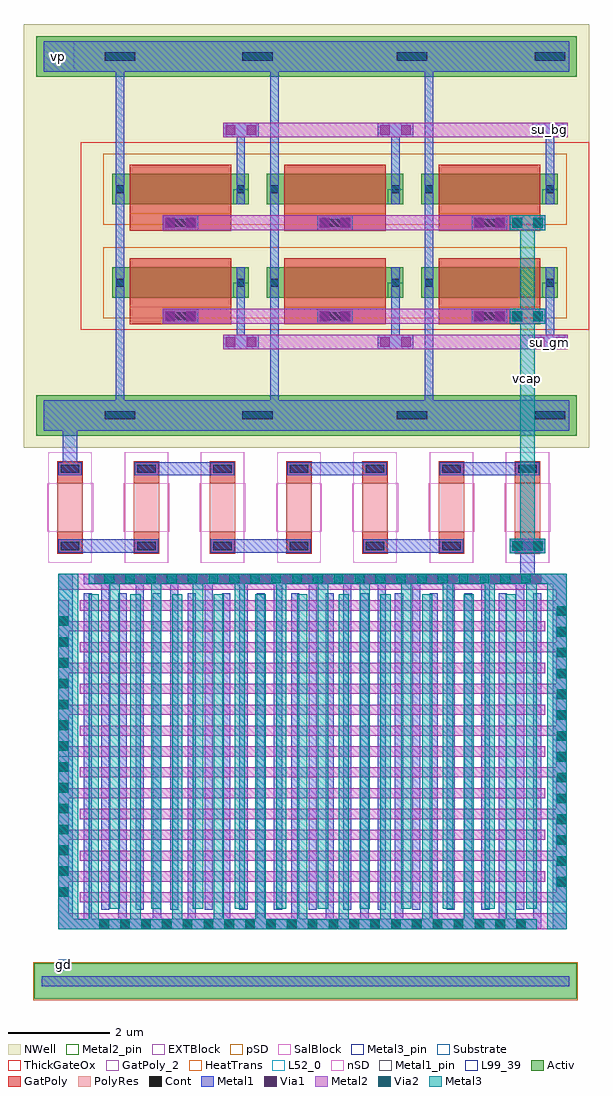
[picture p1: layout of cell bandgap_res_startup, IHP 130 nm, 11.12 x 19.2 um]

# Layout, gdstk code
import gdstk
lib = gdstk.Library(unit=1e-6, precision=1e-09)
def R(c, l, rs):  # rectangles x0, y0, x1, y1
    for r in rs: c.add(gdstk.rectangle(r[:2], r[2:], *l))
def A(c, l, x, y, w, h, nx, ny, dx, dy):  # array of equal rectangles
    R(c, l, [(x+i*dx, y+j*dy, x+i*dx+w, y+j*dy+h) for i in range(nx) for j in range(ny)])
Activ = (1, 0)
GatPoly = (5, 0)
GatPoly_2 = (5, 2)
Cont = (6, 0)
nSD = (7, 0)
Metal1 = (8, 0)
Metal1_pin = (8, 2)
Metal2 = (10, 0)
Metal2_pin = (10, 2)
pSD = (14, 0)
Via1 = (19, 0)
SalBlock = (28, 0)
Via2 = (29, 0)
Metal3 = (30, 0)
Metal3_pin = (30, 2)
NWell = (31, 0)
Substrate = (40, 0)
ThickGateOx = (44, 0)
HeatTrans = (51, 0)
L52_0 = (52, 0)
L99_39 = (99, 39)
EXTBlock = (111, 0)
PolyRes = (128, 0)

pmoshv_6 = lib.new_cell('pmosHV$6')
R(pmoshv_6, Activ, [(0,0,0.3,0.3), (0,0,2.68,0.6), (2.38,0,2.68,0.3)])
R(pmoshv_6, GatPoly, [(0.34,-0.18,2.34,0.78)])
R(pmoshv_6, GatPoly_2, [(0.34,-0.18,2.34,0.78)])
R(pmoshv_6, Cont, [(0.07,0.22,0.23,0.38), (2.45,0.22,2.61,0.38)])
R(pmoshv_6, Metal1, [(0.07,0,0.23,0.6), (2.45,0,2.61,0.6)])
R(pmoshv_6, Metal1_pin, [(0.07,0,0.23,0.6), (2.45,0,2.61,0.6)])
R(pmoshv_6, pSD, [(-0.18,-0.4,2.86,1)])
R(pmoshv_6, NWell, [(-0.62,-0.62,3.3,1.22)])
R(pmoshv_6, Substrate, [(2.38,0,2.68,0.3)])
R(pmoshv_6, ThickGateOx, [(-0.62,-0.62,3.3,1.22)])
R(pmoshv_6, HeatTrans, [(0.34,-0.18,2.34,0.78)])
pmoshv_6.add(gdstk.Label('pmosHV', (1.34,0.3), layer=63, texttype=0))
pmoshv_6.add(gdstk.Label('pmos', (1.34,0.3), layer=51, texttype=0))

via_stack_2 = lib.new_cell('via_stack$2')
R(via_stack_2, Metal2, [(-0.35,-0.145,0.35,0.145)])
R(via_stack_2, Via2, [(-0.3,-0.095,-0.11,0.095), (0.11,-0.095,0.3,0.095)])
R(via_stack_2, Metal3, [(-0.35,-0.145,0.35,0.145)])

via_stack = lib.new_cell('via_stack')
R(via_stack, Metal1, [(-0.35,-0.145,0.35,0.145)])
R(via_stack, Metal2, [(-0.35,-0.145,0.35,0.145)])
R(via_stack, Via1, [(-0.3,-0.095,-0.11,0.095), (0.11,-0.095,0.3,0.095)])

rhigh = lib.new_cell('rhigh')
A(rhigh, GatPoly, 0, -0.43, 0.5, 0.43, 7, 2, 1.5, 1.39)
A(rhigh, Cont, 0.07, -0.36, 0.36, 0.16, 7, 2, 1.5, 1.52)
A(rhigh, nSD, -0.18, -0.61, 0.86, 0.79, 7, 2, 1.5, 1.39)
R(rhigh, nSD, [(-0.18,0,0.68,0.96), (-0.18,0,0.68,0.96), (1.32,0,2.18,0.96), (1.32,0,2.18,0.96), (2.82,0,3.68,0.96), (2.82,0,3.68,0.96), (4.32,0,5.18,0.96), (4.32,0,5.18,0.96), (5.82,0,6.68,0.96), (5.82,0,6.68,0.96), (7.32,0,8.18,0.96), (7.32,0,8.18,0.96), (8.82,0,9.68,0.96), (8.82,0,9.68,0.96)])
A(rhigh, Metal1, 0.02, -0.41, 0.46, 0.26, 7, 2, 1.5, 1.52)
A(rhigh, Metal1, 1.52, -0.41, 1.96, 0.26, 3, 1, 3, 0)
A(rhigh, Metal1, 0.02, 1.11, 1.96, 0.26, 3, 1, 3, 0)
A(rhigh, Metal1_pin, 0.02, -0.41, 0.46, 0.26, 7, 2, 1.5, 1.52)
A(rhigh, pSD, -0.18, -0.61, 0.86, 0.79, 7, 2, 1.5, 1.39)
R(rhigh, pSD, [(-0.18,0,0.68,0.96), (-0.18,0,0.68,0.96), (1.32,0,2.18,0.96), (1.32,0,2.18,0.96), (2.82,0,3.68,0.96), (2.82,0,3.68,0.96), (4.32,0,5.18,0.96), (4.32,0,5.18,0.96), (5.82,0,6.68,0.96), (5.82,0,6.68,0.96), (7.32,0,8.18,0.96), (7.32,0,8.18,0.96), (8.82,0,9.68,0.96), (8.82,0,9.68,0.96)])
A(rhigh, SalBlock, -0.2, 0, 0.9, 0.96, 7, 1, 1.5, 0)
A(rhigh, L52_0, 0, 0, 0.5, 0.96, 7, 1, 1.5, 0)
A(rhigh, EXTBlock, -0.18, -0.61, 0.86, 0.79, 7, 2, 1.5, 1.39)
A(rhigh, EXTBlock, -0.2, 0, 0.9, 0.96, 7, 1, 1.5, 0)
A(rhigh, PolyRes, 0, 0, 0.5, 0.96, 7, 1, 1.5, 0)
rhigh.add(gdstk.Label('rhigh r=3158.261', (0.25,0.48), layer=63, texttype=0))
rhigh.add(gdstk.Label('rhigh r=3158.261', (0.25,0.48), layer=63, texttype=0))
rhigh.add(gdstk.Label('rhigh r=3158.261', (0.25,0.48), layer=63, texttype=0))
rhigh.add(gdstk.Label('rhigh r=3158.261', (0.25,0.48), layer=63, texttype=0))
rhigh.add(gdstk.Label('rhigh r=3158.261', (0.25,0.48), layer=63, texttype=0))
rhigh.add(gdstk.Label('rhigh r=3158.261', (0.25,0.48), layer=63, texttype=0))
rhigh.add(gdstk.Label('rhigh r=3158.261', (0.25,0.48), layer=63, texttype=0))
rhigh.add(gdstk.Label('rhigh', (0.25,0.48), layer=52, texttype=0))
rhigh.add(gdstk.Label('rhigh', (1.75,0.48), layer=52, texttype=0))
rhigh.add(gdstk.Label('rhigh', (3.25,0.48), layer=52, texttype=0))
rhigh.add(gdstk.Label('rhigh', (4.75,0.48), layer=52, texttype=0))
rhigh.add(gdstk.Label('rhigh', (6.25,0.48), layer=52, texttype=0))
rhigh.add(gdstk.Label('rhigh', (7.75,0.48), layer=52, texttype=0))
rhigh.add(gdstk.Label('rhigh', (9.25,0.48), layer=52, texttype=0))

via_stack_3 = lib.new_cell('via_stack$3')
R(via_stack_3, Metal1, [(-0.35,-0.145,0.35,0.145)])
R(via_stack_3, Metal2, [(-0.35,-0.145,0.35,0.145)])
R(via_stack_3, Via1, [(-0.3,-0.095,-0.11,0.095), (0.11,-0.095,0.3,0.095)])
R(via_stack_3, Via2, [(-0.3,-0.095,-0.11,0.095), (0.11,-0.095,0.3,0.095)])
R(via_stack_3, Metal3, [(-0.35,-0.145,0.35,0.145)])

cap_mfringe = lib.new_cell('cap_mfringe')
A(cap_mfringe, Metal1, 0.5, 0, 0.16, 6.61, 14, 1, 0.68, 0)
A(cap_mfringe, Metal1, 0.84, 0.39, 0.16, 6.61, 13, 1, 0.68, 0)
R(cap_mfringe, Metal1, [(0,0,0.28,7), (0,0,9.5,0.21), (9.72,0,10,7), (0.5,6.79,10,7)])
A(cap_mfringe, Metal2, 0.42, 0.53, 9.58, 0.2, 1, 8, 0, 0.82)
A(cap_mfringe, Metal2, 0, 0.94, 9.58, 0.2, 1, 7, 0, 0.82)
R(cap_mfringe, Metal2, [(0,0,10,0.32), (0,0,0.205,6.47), (9.795,0.53,10,7), (0,6.68,10,7)])
A(cap_mfringe, Via1, 0.805, 0.01, 0.19, 0.19, 21, 1, 0.41, 0)
A(cap_mfringe, Via1, 0.01, 0.64, 0.19, 0.19, 1, 14, 0, 0.41)
A(cap_mfringe, Via1, 9.8, 0.84, 0.19, 0.19, 1, 14, 0, 0.41)
A(cap_mfringe, Via1, 0.7, 6.8, 0.19, 0.19, 22, 1, 0.41, 0)
A(cap_mfringe, Via2, 0.805, 0.005, 0.19, 0.19, 21, 1, 0.41, 0)
A(cap_mfringe, Via2, 0.005, 0.64, 0.19, 0.19, 1, 14, 0, 0.41)
A(cap_mfringe, Via2, 9.805, 0.84, 0.19, 0.19, 1, 14, 0, 0.41)
A(cap_mfringe, Via2, 0.905, 6.805, 0.19, 0.19, 21, 1, 0.41, 0)
A(cap_mfringe, Metal3, 0.595, 0, 0.2, 6.59, 11, 1, 0.82, 0)
A(cap_mfringe, Metal3, 1.005, 0.41, 0.2, 6.59, 11, 1, 0.82, 0)
R(cap_mfringe, Metal3, [(0,0,0.385,7), (0,0,9.405,0.2), (9.615,0,10,7), (0.595,6.8,10,7)])
R(cap_mfringe, Metal3_pin, [(0,3.4,0.2,3.6), (4.9,6.8,5.1,7)])
R(cap_mfringe, L99_39, [(0,0,10,7)])
cap_mfringe.add(gdstk.Label('cap_mfringe C=123.900fF', (0,-0.5), layer=63, texttype=0))

bandgap_res_startup = lib.new_cell('bandgap_res_startup')
A(bandgap_res_startup, Cont, 2.78, 13.38, 0.6, 0.16, 3, 2, 3.04, 1.84)
R(bandgap_res_startup, Cont, [(1.59,11.43,2.19,11.59), (1.59,11.43,2.19,11.59), (4.3,11.43,4.9,11.59), (4.3,11.43,4.9,11.59), (7.34,11.43,7.94,11.59), (7.34,11.43,7.94,11.59), (10.05,11.43,10.65,11.59), (10.05,11.43,10.65,11.59), (8.86,13.38,9.46,13.54), (1.59,18.49,2.19,18.65), (1.59,18.49,2.19,18.65), (4.3,18.49,4.9,18.65), (4.3,18.49,4.9,18.65), (7.34,18.49,7.94,18.65), (7.34,18.49,7.94,18.65), (10.05,18.49,10.65,18.65), (10.05,18.49,10.65,18.65)])
R(bandgap_res_startup, Metal1_pin, [(0.39,18.27,0.99,18.87)])
R(bandgap_res_startup, Metal2_pin, [(10,12.81,10.7,13.1), (10,16.98,10.7,17.27)])
R(bandgap_res_startup, Metal3_pin, [(0.68,0.6,0.88,0.8)])
R(bandgap_res_startup, NWell, [(0,10.87,1.12,19.21), (1.12,10.87,11.12,13.2), (1.12,10.87,11.12,13.2), (1.12,16.88,11.12,19.21), (1.12,16.88,11.12,19.21)])
bandgap_res_startup.add(gdstk.FlexPath([(1.89,18.87),(1.89,11.21)], 0.16, ends="flush", simple_path=True, layer=8, datatype=0))  # Metal1
bandgap_res_startup.add(gdstk.FlexPath([(4.93,18.87),(4.93,11.21)], 0.16, ends="flush", simple_path=True, layer=8, datatype=0))  # Metal1
bandgap_res_startup.add(gdstk.FlexPath([(7.97,11.21),(7.97,18.87)], 0.16, ends="flush", simple_path=True, layer=8, datatype=0))  # Metal1
bandgap_res_startup.add(gdstk.FlexPath([(10.35,15.66),(10.35,17.27)], 0.16, ends="flush", simple_path=True, layer=8, datatype=0))  # Metal1
bandgap_res_startup.add(gdstk.FlexPath([(10.35,14.42),(10.35,12.81)], 0.16, ends="flush", simple_path=True, layer=8, datatype=0))  # Metal1
bandgap_res_startup.add(gdstk.FlexPath([(7.31,15.66),(7.31,17.27)], 0.16, ends="flush", simple_path=True, layer=8, datatype=0))  # Metal1
bandgap_res_startup.add(gdstk.FlexPath([(4.27,15.66),(4.27,17.27)], 0.16, ends="flush", simple_path=True, layer=8, datatype=0))  # Metal1
bandgap_res_startup.add(gdstk.FlexPath([(7.31,14.42),(7.31,12.81)], 0.16, ends="flush", simple_path=True, layer=8, datatype=0))  # Metal1
bandgap_res_startup.add(gdstk.FlexPath([(4.27,14.42),(4.27,12.81)], 0.16, ends="flush", simple_path=True, layer=8, datatype=0))  # Metal1
bandgap_res_startup.add(gdstk.FlexPath([(0.91,10.33),(0.91,11.81)], 0.29, ends="flush", simple_path=True, layer=8, datatype=0))  # Metal1
bandgap_res_startup.add(gdstk.FlexPath([(9.91,9.085),(9.91,8.19)], 0.29, ends="flush", simple_path=True, layer=8, datatype=0))  # Metal1
bandgap_res_startup.add(gdstk.FlexPath([(10.73,0.38),(0.35,0.38)], 0.2, ends="flush", simple_path=True, layer=8, datatype=0))  # Metal1
bandgap_res_startup.add(gdstk.FlexPath([(0.39,18.57),(10.73,18.57)], 0.6, ends="flush", simple_path=True, layer=8, datatype=0))  # Metal1
bandgap_res_startup.add(gdstk.FlexPath([(0.39,11.51),(10.73,11.51)], 0.6, ends="flush", simple_path=True, layer=8, datatype=0))  # Metal1
bandgap_res_startup.add(gdstk.FlexPath([(10.88,0.38),(0.2,0.38)], 0.7, ends="flush", simple_path=True, layer=1, datatype=0))  # Activ
bandgap_res_startup.add(gdstk.FlexPath([(0.24,18.57),(10.88,18.57)], 0.8, ends="flush", simple_path=True, layer=1, datatype=0))  # Activ
bandgap_res_startup.add(gdstk.FlexPath([(0.24,11.51),(10.88,11.51)], 0.8, ends="flush", simple_path=True, layer=1, datatype=0))  # Activ
bandgap_res_startup.add(gdstk.FlexPath([(3.08,16.44),(3.08,15.14)], 2, ends="flush", simple_path=True, layer=5, datatype=0))  # GatPoly
bandgap_res_startup.add(gdstk.FlexPath([(6.12,16.44),(6.12,15.14)], 2, ends="flush", simple_path=True, layer=5, datatype=0))  # GatPoly
bandgap_res_startup.add(gdstk.FlexPath([(9.16,16.44),(9.16,15.14)], 2, ends="flush", simple_path=True, layer=5, datatype=0))  # GatPoly
bandgap_res_startup.add(gdstk.FlexPath([(3.08,14.6),(3.08,13.3)], 2, ends="flush", simple_path=True, layer=5, datatype=0))  # GatPoly
bandgap_res_startup.add(gdstk.FlexPath([(6.12,14.6),(6.12,13.3)], 2, ends="flush", simple_path=True, layer=5, datatype=0))  # GatPoly
bandgap_res_startup.add(gdstk.FlexPath([(9.16,14.6),(9.16,13.3)], 2, ends="flush", simple_path=True, layer=5, datatype=0))  # GatPoly
bandgap_res_startup.add(gdstk.FlexPath([(10.9,0.38),(0.18,0.38)], 0.74, ends="flush", simple_path=True, layer=14, datatype=0))  # pSD
bandgap_res_startup.add(gdstk.FlexPath([(3.92,12.955),(10.7,12.955)], 0.29, ends="flush", simple_path=True, layer=10, datatype=0))  # Metal2
bandgap_res_startup.add(gdstk.FlexPath([(10.7,17.125),(3.92,17.125)], 0.29, ends="flush", simple_path=True, layer=10, datatype=0))  # Metal2
bandgap_res_startup.add(gdstk.FlexPath([(10.26,13.46),(2.73,13.46)], 0.29, ends="flush", simple_path=True, layer=10, datatype=0))  # Metal2
bandgap_res_startup.add(gdstk.FlexPath([(10.26,15.3),(2.73,15.3)], 0.29, ends="flush", simple_path=True, layer=10, datatype=0))  # Metal2
bandgap_res_startup.add(gdstk.FlexPath([(9.91,15.445),(9.91,8.795)], 0.29, ends="flush", simple_path=True, layer=30, datatype=0))  # Metal3
bandgap_res_startup.add(gdstk.Reference(pmoshv_6, (1.74,15.66)))
bandgap_res_startup.add(gdstk.Reference(pmoshv_6, (4.78,15.66)))
bandgap_res_startup.add(gdstk.Reference(pmoshv_6, (7.82,15.66)))
bandgap_res_startup.add(gdstk.Reference(via_stack_2, (9.91,15.3)))
bandgap_res_startup.add(gdstk.Reference(pmoshv_6, (1.74,13.82)))
bandgap_res_startup.add(gdstk.Reference(pmoshv_6, (4.78,13.82)))
bandgap_res_startup.add(gdstk.Reference(pmoshv_6, (7.82,13.82)))
bandgap_res_startup.add(gdstk.Reference(via_stack, (10.35,12.955)))
bandgap_res_startup.add(gdstk.Reference(via_stack_2, (9.91,13.46)))
bandgap_res_startup.add(gdstk.Reference(via_stack, (10.35,17.125)))
bandgap_res_startup.add(gdstk.Reference(rhigh, (0.66,10.18), x_reflection=True))
bandgap_res_startup.add(gdstk.Reference(via_stack, (6.12,15.3)))
bandgap_res_startup.add(gdstk.Reference(via_stack, (3.08,15.3)))
bandgap_res_startup.add(gdstk.Reference(via_stack, (3.08,13.46)))
bandgap_res_startup.add(gdstk.Reference(via_stack, (6.12,13.46)))
bandgap_res_startup.add(gdstk.Reference(via_stack, (7.31,17.125)))
bandgap_res_startup.add(gdstk.Reference(via_stack, (4.27,17.125)))
bandgap_res_startup.add(gdstk.Reference(via_stack, (7.31,12.955)))
bandgap_res_startup.add(gdstk.Reference(via_stack, (4.27,12.955)))
bandgap_res_startup.add(gdstk.Reference(via_stack_3, (9.91,8.94)))
bandgap_res_startup.add(gdstk.Reference(via_stack, (9.16,13.46)))
bandgap_res_startup.add(gdstk.Reference(via_stack, (9.16,15.3)))
bandgap_res_startup.add(gdstk.Reference(cap_mfringe, (0.68,1.4)))
bandgap_res_startup.add(gdstk.Label('su_bg', (10.35,17.125), layer=10, texttype=25))
bandgap_res_startup.add(gdstk.Label('su_gm', (10.35,12.945), layer=10, texttype=25))
bandgap_res_startup.add(gdstk.Label('vp', (0.69,18.57), layer=8, texttype=25))
bandgap_res_startup.add(gdstk.Label('vcap', (9.91,12.24), layer=30, texttype=25))
bandgap_res_startup.add(gdstk.Label('gd', (0.78,0.7), layer=30, texttype=25))

lib.write_gds('bandgap_res_startup.gds')
